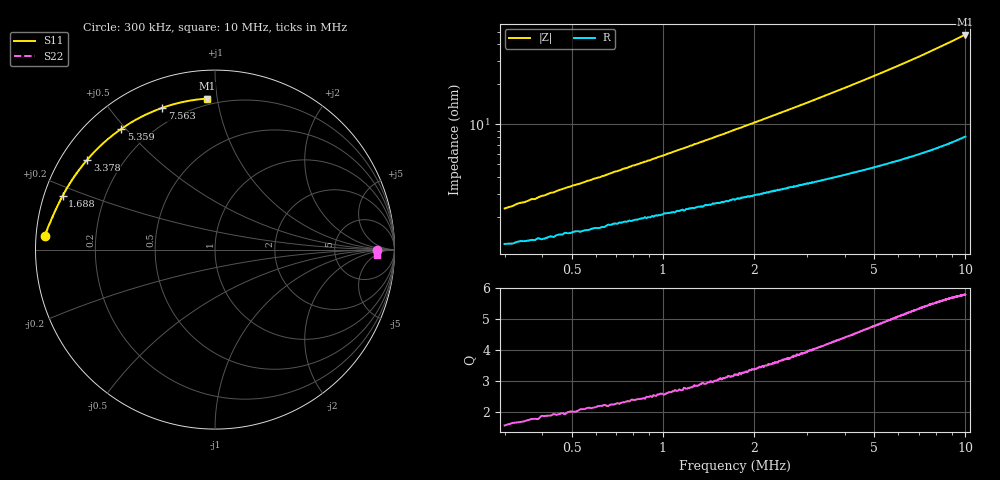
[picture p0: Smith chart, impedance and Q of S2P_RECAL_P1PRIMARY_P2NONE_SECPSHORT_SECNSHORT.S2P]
!Keysight Technologies,E5061B,MY49709559,B.05.06
!Date: Fri Apr 08 00:54:16 2022
!Data & Calibration Information:
!Freq	S11:SOLT2(ON)	S21:SOLT2(ON)	S12:SOLT2(ON)	S22:SOLT2(ON)
# Hz S RI R 50
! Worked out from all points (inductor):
!   1000 points, 300 kHz to 10 MHz, reference 50 ohm
!   read as one part to ground: L = 776 nH near 1.485 MHz
!   highest Q = 5.8 at 9.981 MHz (marker M1), where L = 746 nH
!   S11 on the Smith chart (normalised r, x): 300 kHz: 0.03, +0.04; 1.688 MHz: 0.05, +0.17; 3.378 MHz: 0.08, +0.32; 5.359 MHz: 0.10, +0.49; 7.563 MHz: 0.13, +0.69; 10 MHz: 0.16, +0.94
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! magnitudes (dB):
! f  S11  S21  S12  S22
! 300 kHz  -0.4  -105.4  -92.9  -0.9
! 358.3 kHz  -0.5  -90.8  -90.8  -0.9
! 474.8 kHz  -0.5  -85.9  -86.2  -0.9
! 591.3 kHz  -0.6  -85.0  -88.0  -0.9
! 707.8 kHz  -0.6  -87.4  -94.2  -0.9
! 989.4 kHz  -0.7  -94.6  -82.7  -0.9
! 1.271 MHz  -0.8  -97.8  -94.3  -0.9
! 1.688 MHz  -0.9  -92.9  -91.9  -0.9
! 1.922 MHz  -1.0  -83.7  -88.8  -0.9
! 2.611 MHz  -1.1  -84.4  -96.7  -0.9
! 2.951 MHz  -1.2  -97.5  -90.6  -0.9
! 3.378 MHz  -1.2  -83.6  -94.1  -0.9
! 3.543 MHz  -1.2  -88.2  -90.0  -0.9
! 4.213 MHz  -1.3  -91.9  -93.6  -0.9
! 5.155 MHz  -1.4  -85.0  -85.2  -0.9
! 5.359 MHz  -1.4  -84.4  -91.1  -0.9
! 6.252 MHz  -1.4  -105.4  -110.0  -0.9
! 6.767 MHz  -1.5  -92.3  -89.5  -0.9
! 7.563 MHz  -1.5  -88.0  -84.2  -0.9
! 8.388 MHz  -1.5  -89.8  -93.4  -0.9
! 9.981 MHz  -1.5  -101.1  -94.2  -0.9
! 10 MHz  -1.5  -89.8  -90.6  -0.9
